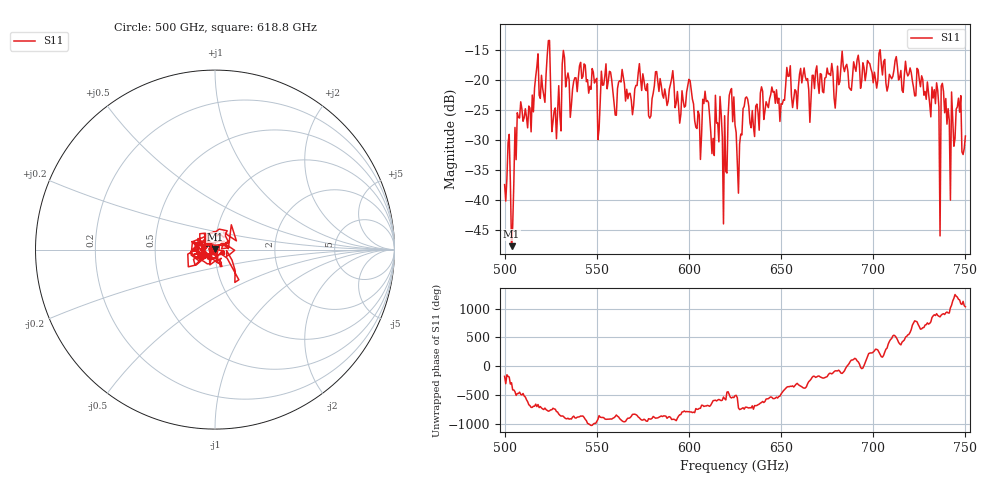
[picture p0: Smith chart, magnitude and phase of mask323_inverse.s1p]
!Created with skrf (http://scikit-rf.org).
# GHz S MA R 50.0
!freq magS11 angS11
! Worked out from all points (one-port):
!   401 points, 500 GHz to 750 GHz, reference 50 ohm
!   lowest |S11| = -47.7 dB at 503.8 GHz (marker M1), VSWR 1.01, Z = 50.1 + j0.396 ohm
!   |S11| at or under -10 dB: start of sweep to end of sweep
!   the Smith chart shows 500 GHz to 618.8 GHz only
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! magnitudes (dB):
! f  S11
! 500 GHz  -37.5
! 503.8 GHz  -47.7
! 508.1 GHz  -26.3
! 523.8 GHz  -13.4
! 526.9 GHz  -25.1
! 531.2 GHz  -17.4
! 562.5 GHz  -20.1
! 593.8 GHz  -21.9
! 600 GHz  -19.9
! 605.6 GHz  -25.8
! 609.4 GHz  -23.6
! 612.5 GHz  -32.3
! 616.9 GHz  -22.7
! 619.4 GHz  -26.0
! 622.5 GHz  -21.8
! 625 GHz  -27.5
! 627.5 GHz  -30.6
! 630.6 GHz  -23.0
! 634.4 GHz  -25.1
! 656.2 GHz  -24.6
! 687.5 GHz  -21.5
! 718.8 GHz  -19.3
! 734.4 GHz  -20.5
! 735 GHz  -21.8
! 738.1 GHz  -21.9
! 743.1 GHz  -26.5
! 746.2 GHz  -23.0
! 750 GHz  -29.4
